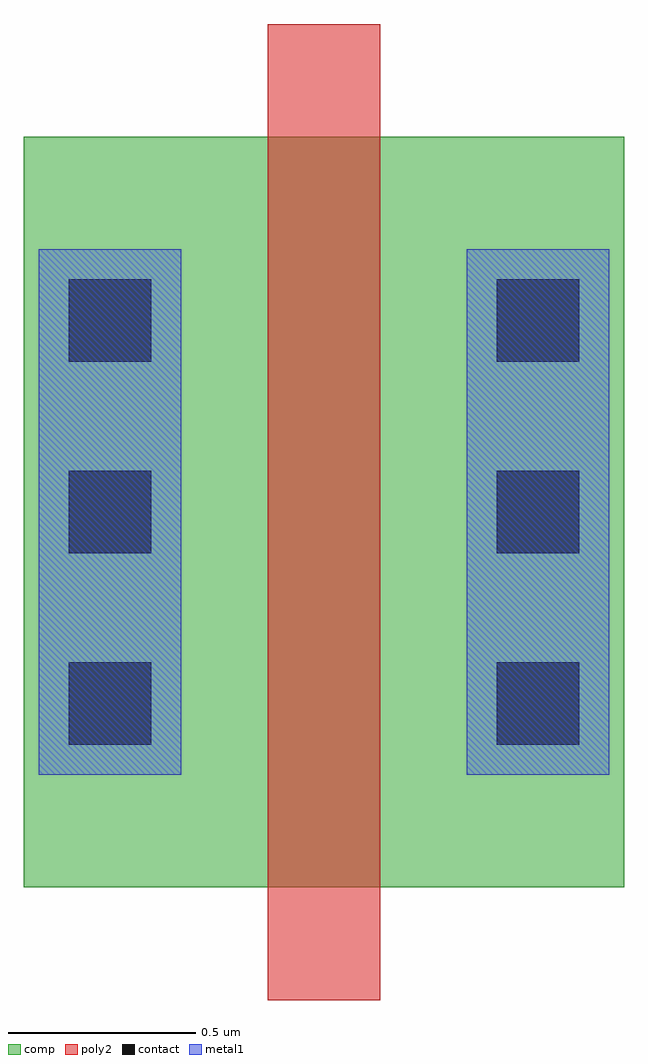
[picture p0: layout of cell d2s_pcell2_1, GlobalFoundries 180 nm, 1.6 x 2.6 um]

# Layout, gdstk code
import gdstk
lib = gdstk.Library(unit=1e-6, precision=5e-09)
def R(c, l, rs):  # rectangles x0, y0, x1, y1
    for r in rs: c.add(gdstk.rectangle(r[:2], r[2:], *l))
def A(c, l, x, y, w, h, nx, ny, dx, dy):  # array of equal rectangles
    R(c, l, [(x+i*dx, y+j*dy, x+i*dx+w, y+j*dy+h) for i in range(nx) for j in range(ny)])
comp = (22, 0)
poly2 = (30, 0)
contact = (33, 0)
metal1 = (34, 0)

d2s_pcell2_1 = lib.new_cell('d2s_pcell2_1')
R(d2s_pcell2_1, comp, [(0,0.3,0.46,2.3), (0.46,0.3,1.14,2.3), (1.14,0.3,1.6,2.3)])
R(d2s_pcell2_1, poly2, [(0.65,0,0.95,2.6)])
A(d2s_pcell2_1, contact, 0.12, 0.68, 0.22, 0.22, 1, 3, 0, 0.51)
A(d2s_pcell2_1, contact, 1.26, 0.68, 0.22, 0.22, 1, 3, 0, 0.51)
R(d2s_pcell2_1, metal1, [(0.04,0.6,0.42,2), (1.18,0.6,1.56,2)])

lib.write_gds('d2s_pcell2_1.gds')
